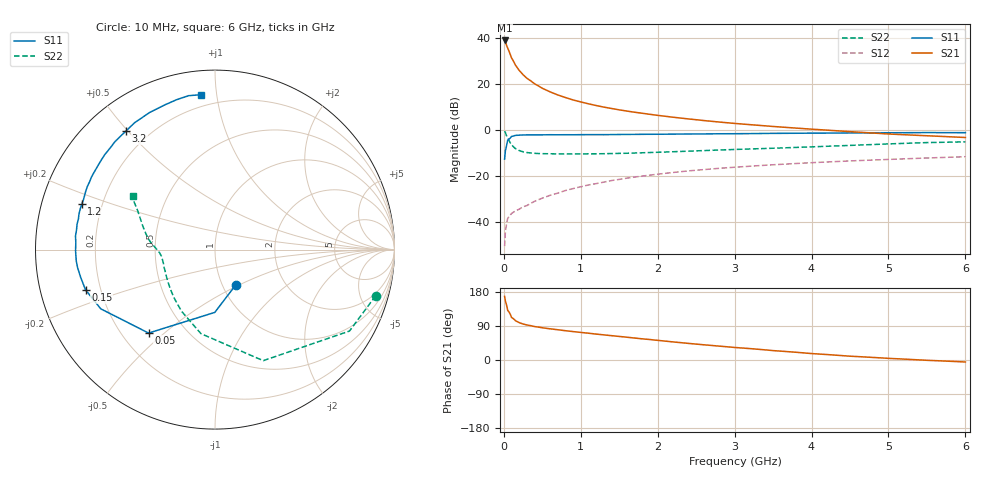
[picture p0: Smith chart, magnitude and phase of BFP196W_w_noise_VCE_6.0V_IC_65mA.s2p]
! (c) 2017  Infineon Technologies AG, Munich
! Infineon Technologies  Discrete & RF Semiconductors
! BFP196W
! VCE =  6.0 V,  IC =  65 mA
! Common Emitter S-Parameters:  Jan 2017
# GHz  S  MA  R  50
!  f  S11  S21  S12  S22
! GHz  MAG  ANG  MAG  ANG  MAG  ANG  MAG  ANG
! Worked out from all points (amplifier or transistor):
!   77 points, 10 MHz to 6 GHz, reference 50 ohm
!   highest |S21| = 39.0 dB at 10 MHz (marker M1)
!   |S21| within 3 dB of that: start of sweep to 45.86 MHz
!   unconditionally stable (mu >= 1): 632.5 MHz to 3.263 GHz
!   at 130 MHz: K = 0.48, MSG = 32.7 dB, |S12| = -35.8 dB
!   at 2.2 GHz: K = 1.04, MAG = 10.9 dB, |S12| = -18.6 dB
!   at 6 GHz: K = 0.94, MSG = 4.2 dB, |S12| = -11.7 dB
!   lowest NFmin = 1.51 dB at 450 MHz
!   S11 on the Smith chart (normalised r, x): 10 MHz: 1.15, -0.48; 50 MHz: 0.31, -0.44; 150 MHz: 0.14, -0.15; 1.2 GHz: 0.12, +0.16; 3.2 GHz: 0.12, +0.50; 6 GHz: 0.13, +0.91
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0.01  0.2289 -59.9  88.84 167.8  0.0029 81.0  0.9317 -16.0
0.02  0.3498 -90.2  82.8 155.7  0.006 70.4  0.876 -31.2
0.05  0.5942 -128.5  60.51 131.0  0.0117 52.4  0.6747 -66.5
0.1  0.7169 -152.6  36.98 112.3  0.015 44.2  0.4748 -99.5
0.15  0.7555 -162.7  25.9 103.9  0.017 44.3  0.3905 -118.6
0.2  0.7644 -168.4  19.74 98.6  0.0186 45.8  0.353 -130.2
0.25  0.7719 -172.4  15.9 95.0  0.021 49.0  0.3314 -138.8
0.3  0.7755 -175.3  13.3 92.4  0.0223 51.8  0.3193 -144.7
0.4  0.7769 -179.5  10.06 88.2  0.0276 56.1  0.3073 -152.7
0.5  0.7764 177.1  8.055 85.1  0.0323 59.6  0.3014 -158.0
0.6  0.7811 174.4  6.736 82.3  0.0372 60.7  0.3007 -161.6
0.7  0.7791 172.0  5.767 79.9  0.0416 62.8  0.2977 -164.4
0.9  0.7799 167.3  4.482 75.0  0.0522 64.2  0.2978 -168.1
1.1  0.7844 163.2  3.692 70.7  0.0627 64.4  0.2994 -170.8
1.2  0.7841 161.2  3.385 68.4  0.0671 63.8  0.2999 -172.1
1.6  0.7934 153.7  2.563 60.1  0.0884 62.2  0.3082 -176.4
2.1  0.8024 144.4  1.973 49.8  0.1125 58.3  0.328 179.0
3.1  0.8241 128.3  1.337 31.6  0.1567 49.5  0.3773 170.4
3.2  0.8265 126.8  1.296 30.1  0.1607 48.6  0.3819 169.5
4.1  0.847 114.1  1.008 15.7  0.1953 40.8  0.4309 160.6
5.1  0.8633 103.4  0.796 3.4  0.2293 32.8  0.499 151.6
6  0.8663 95.0  0.68 -5.3  0.2591 25.7  0.5464 147.0
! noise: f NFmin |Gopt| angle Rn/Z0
0.45  1.51  0.53  -175  0.06
0.9  1.64  0.57  -170  0.07
1.9  2.49  0.7  -148  0.18
2.4  2.88  0.74  -144  0.28
